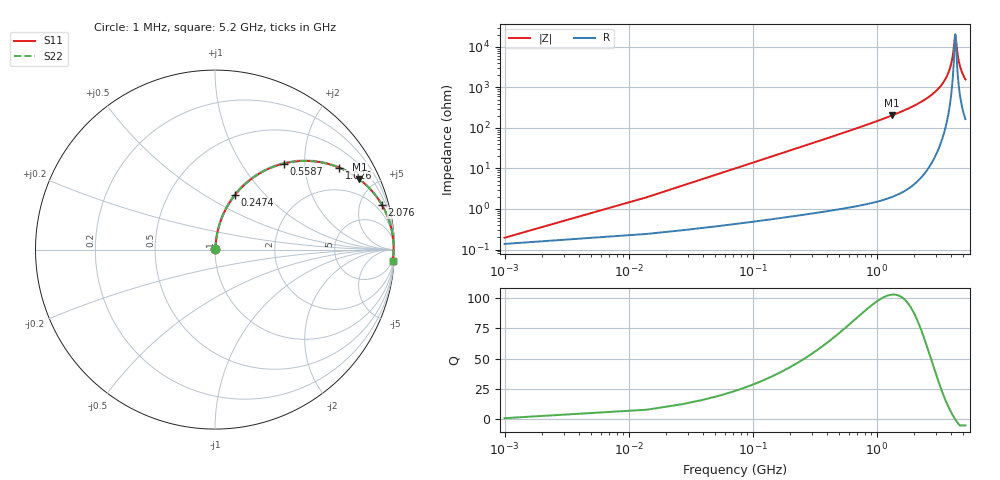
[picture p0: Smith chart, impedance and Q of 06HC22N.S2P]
! Coilcraft 0603HC-22N Chip Inductor
! 03 June 2002
# MHZ S MA R 50
!Freq  MagS11  AngS11  MagS21  AngS21  MagS12  AngS12  MagS22  AngS22
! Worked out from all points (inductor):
!   402 points, 1 MHz to 5.2 GHz, reference 50 ohm
!   read as one part in series: L = 22 nH near 26.94 MHz
!   highest Q = 103 at 1.337 GHz (marker M1), where L = 24.3 nH
!   self-resonance near 4.307 GHz
!   S11 on the Smith chart (normalised r, x): 1 MHz: 1.00, +0.00; 247.4 MHz: 1.01, +0.69; 558.7 MHz: 1.02, +1.57; 1.026 GHz: 1.03, +3.01; 2.076 GHz: 1.09, +7.47; 5.2 GHz: 4, -31
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1  0.001946 45.1  0.9986 -0.1  0.9986 -0.1  0.001946 45.1
39.91  0.05501 83.3  0.9951 -3.1  0.9951 -3.1  0.05501 83.3
65.85  0.09039 82.2  0.9918 -5.2  0.9918 -5.2  0.09039 82.2
130.7  0.1771 78.1  0.9789 -10.2  0.9789 -10.2  0.1771 78.1
247.43  0.3226 70.0  0.9399 -18.8  0.9399 -18.8  0.3226 70.0
558.71  0.6138 51.4  0.7814 -37.9  0.7814 -37.9  0.6138 51.4
869.99  0.7777 38.3  0.6203 -51.0  0.6203 -51.0  0.7777 38.3
1025.63  0.8287 33.5  0.5514 -56.0  0.5514 -56.0  0.8287 33.5
1336.91  0.8949 26.0  0.4376 -63.5  0.4376 -63.5  0.8949 26.0
1738.98  0.9414 19.1  0.3278 -70.3  0.3278 -70.3  0.9414 19.1
2076.2  0.9632 14.9  0.2577 -74.4  0.2577 -74.4  0.9632 14.9
2607.97  0.982 9.9  0.1727 -79.1  0.1727 -79.1  0.982 9.9
3476.96  0.9937 4.1  0.0723 -82.9  0.0723 -82.9  0.9937 4.1
3956.85  0.9952 1.6  0.02896 -79.7  0.02896 -79.7  0.9952 1.6
4125.46  0.9953 0.8  0.01537 -71.7  0.01537 -71.7  0.9953 0.8
4281.1  0.9951 0.1  0.005379 -25.2  0.005379 -25.2  0.9951 0.1
4307.04  0.9951 0.0  0.004915 -3.3  0.004915 -3.3  0.9951 0.0
4345.95  0.995 -0.2  0.005668 28.5  0.005668 28.5  0.995 -0.2
4488.62  0.9947 -0.8  0.01447 68.1  0.01447 68.1  0.9947 -0.8
4644.26  0.9942 -1.4  0.02548 76.1  0.02548 76.1  0.9942 -1.4
4877.72  0.9932 -2.4  0.04169 79.4  0.04169 79.4  0.9932 -2.4
5200  0.9914 -3.6  0.06307 80.4  0.06307 80.4  0.9914 -3.6
